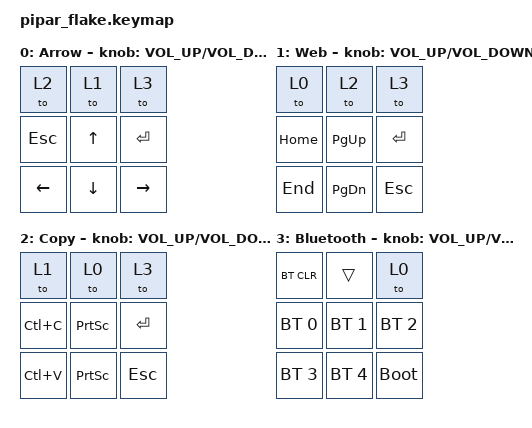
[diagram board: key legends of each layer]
/*
 * Copyright (c) 2022 The ZMK Contributor
 *
 * SPDX-License-Identifier: MIT
 */

#include <behaviors.dtsi>
#include <dt-bindings/zmk/bt.h>
#include <dt-bindings/zmk/keys.h>

#define BASE        0
#define FUNC        1

/ {
    sensors: sensors {
        compatible = "zmk,keymap-sensors";
        sensors = <&encoder_1>;
        triggers-per-rotation = <24>;
    };

    keymap {
        compatible = "zmk,keymap";

        default_layer {
            // ---------------------------//
            // | Q    | W     | ENCODER | //
            // | A    | S     | D       | //
            // | Z    | X     | FN      | //

            display-name = "Arrow";
            bindings = <
                &to 2          &to 1   &to 3
                &kp ESC          &kp UP_ARROW   &kp ENTER
                &kp LEFT_ARROW &kp DOWN_ARROW &kp RIGHT_ARROW
            >;

            sensor-bindings = <&inc_dec_kp C_VOLUME_UP C_VOLUME_DOWN>;
        };

 layer_2 {
display-name = "Web";            
bindings = <
&to 0     &to 2      &to 3
                &kp HOME  &kp PG_UP  &kp ENTER
                &kp END   &kp PG_DN  &kp ESC
            >;
sensor-bindings = <&inc_dec_kp C_VOLUME_UP C_VOLUME_DOWN>;
        };

copy_layer {
            display-name = "Copy";
            bindings = <
                &to 1      &to 0            &to 3
                &kp LC(C)  &kp PRINTSCREEN  &kp ENTER
                &kp LC(V)  &kp PRINTSCREEN  &kp ESC
            >;
            sensor-bindings = <&inc_dec_kp C_VOLUME_UP C_VOLUME_DOWN>;
        };

        function_layer {
            // --------------------------- //
            // | BT_CLR | trans | ENCODER | //
            // | BT_0   | BT_1 | BT_2    | //
            // | BT_3   | BT_4 | bootloader    | //

            display-name = "Bluetooth";
            bindings = <
&bt BT_CLR    &trans      &to 0
&bt BT_SEL 0  &bt BT_SEL 1  &bt BT_SEL 2
&bt BT_SEL 3  &bt BT_SEL 4  &bootloader  
            >;

            sensor-bindings = <&inc_dec_kp C_VOLUME_UP C_VOLUME_DOWN>;
        };

       
    };
};
